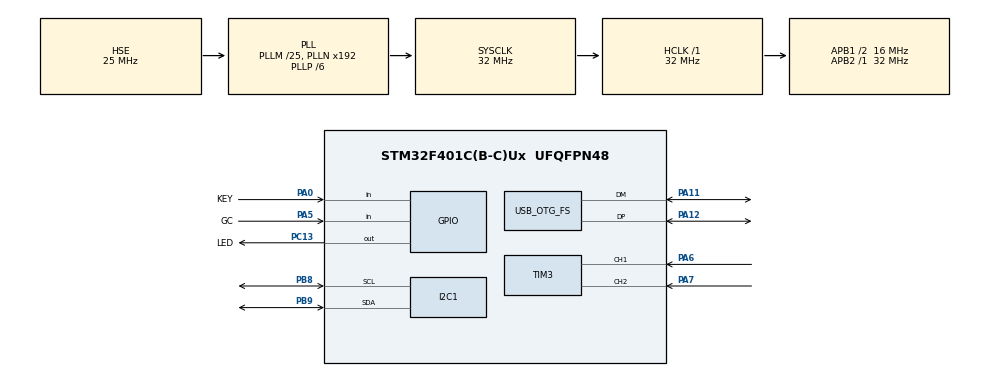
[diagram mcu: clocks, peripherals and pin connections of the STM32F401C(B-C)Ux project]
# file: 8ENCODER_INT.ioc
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Mcu.Family=STM32F4
Mcu.Name=STM32F401C(B-C)Ux
Mcu.Package=UFQFPN48
NVIC.OTG_FS_IRQn=true\:0\:0\:false\:false\:true\:false\:true
NVIC.PriorityGroup=NVIC_PRIORITYGROUP_4
NVIC.TIM3_IRQn=true\:0\:0\:false\:false\:true\:true\:true
PA0-WKUP.GPIO_Label=KEY
PA0-WKUP.GPIO_PuPd=GPIO_PULLUP
PA0-WKUP.Signal=GPIO_Input
PA11.Mode=Device_Only
PA11.Signal=USB_OTG_FS_DM
PA12.Mode=Device_Only
PA12.Signal=USB_OTG_FS_DP
PA13.Mode=Serial_Wire
PA13.Signal=SYS_JTMS-SWDIO
PA14.Mode=Serial_Wire
PA14.Signal=SYS_JTCK-SWCLK
PA5.GPIO_Label=GC
PA5.GPIO_PuPd=GPIO_PULLUP
PA5.Signal=GPIO_Input
PA6.GPIO_PuPd=GPIO_PULLUP
PA6.Signal=S_TIM3_CH1
PA7.GPIO_PuPd=GPIO_PULLUP
PA7.Signal=S_TIM3_CH2
PB8.Mode=I2C
PB8.Signal=I2C1_SCL
PB9.Mode=I2C
PB9.Signal=I2C1_SDA
PC13-ANTI_TAMP.GPIO_Label=LED
PC13-ANTI_TAMP.PinState=GPIO_PIN_SET
PC13-ANTI_TAMP.Signal=GPIO_Output
PH0\ -\ OSC_IN.Mode=HSE-External-Oscillator
PH0\ -\ OSC_IN.Signal=RCC_OSC_IN
PH1\ -\ OSC_OUT.Mode=HSE-External-Oscillator
PH1\ -\ OSC_OUT.Signal=RCC_OSC_OUT
ProjectManager.HeapSize=0x200
ProjectManager.StackSize=0x400
ProjectManager.TargetToolchain=STM32CubeIDE
RCC.48MHZClocksFreq_Value=48000000
RCC.AHBFreq_Value=32000000
RCC.APB1CLKDivider=RCC_HCLK_DIV2
RCC.APB1Freq_Value=16000000
RCC.APB1TimFreq_Value=32000000
RCC.APB2Freq_Value=32000000
RCC.APB2TimFreq_Value=32000000
RCC.CortexFreq_Value=32000000
RCC.HCLKFreq_Value=32000000
RCC.HSE_VALUE=25000000
RCC.HSI_VALUE=16000000
RCC.LSE_VALUE=32768
RCC.PLLM=25
RCC.PLLP=RCC_PLLP_DIV6
RCC.SYSCLKFreq_VALUE=32000000
RCC.SYSCLKSource=RCC_SYSCLKSOURCE_PLLCLK
RCC.VCOOutputFreq_Value=192000000
SH.S_TIM3_CH1.0=TIM3_CH1,Encoder_Interface
SH.S_TIM3_CH2.0=TIM3_CH2,Encoder_Interface
TIM3.AutoReloadPreload=TIM_AUTORELOAD_PRELOAD_ENABLE
TIM3.CounterMode=TIM_COUNTERMODE_CENTERALIGNED1
TIM3.EncoderMode=TIM_ENCODERMODE_TI12
TIM3.IC1Filter=10
TIM3.IC1Polarity=TIM_ICPOLARITY_FALLING
TIM3.IC2Filter=10
TIM3.IC2Polarity=TIM_ICPOLARITY_FALLING
USB_DEVICE.CLASS_NAME_FS=CDC
USB_DEVICE.VirtualMode=Cdc
USB_DEVICE.VirtualModeFS=Cdc_FS
USB_OTG_FS.VirtualMode=Device_Only
VP_USB_DEVICE_VS_USB_DEVICE_CDC_FS.Mode=CDC_FS
board=custom

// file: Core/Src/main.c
/* USER CODE BEGIN Header */
/**
  ******************************************************************************
  * @file           : main.c
  * @brief          : Main program body
  ******************************************************************************
  * @attention
  *
  * Copyright (c) 2022 STMicroelectronics.
  * All rights reserved.
  *
  * This software is licensed under terms that can be found in the LICENSE file
  * in the root directory of this software component.
  * If no LICENSE file comes with this software, it is provided AS-IS.
  *
  ******************************************************************************
  */
/* USER CODE END Header */
#include "main.h"
#include "usb_device.h"

/* USER CODE BEGIN Includes */
#include "liquidcrystal_i2c.h"
/* USER CODE END Includes */

/* USER CODE BEGIN PD */
#define SW (!HAL_GPIO_ReadPin(GC_GPIO_Port, GC_Pin))
/* USER CODE END PD */

I2C_HandleTypeDef hi2c1;

TIM_HandleTypeDef htim3;

/* USER CODE BEGIN PV */
uint8_t MSG[30] = {'\0'};
uint8_t oldBt = 0;

int encVal = 0, oldEncVal = 0;
int8_t DIR = 0;
/* USER CODE END PV */

void SystemClock_Config(void);
static void MX_GPIO_Init(void);
static void MX_I2C1_Init(void);
static void MX_TIM3_Init(void);

int main(void)
{

  /* MCU Configuration--------------------------------------------------------*/

  /* Reset of all peripherals, Initializes the Flash interface and the Systick. */
  HAL_Init();

  /* Configure the system clock */
  SystemClock_Config();

  /* Initialize all configured peripherals */
  MX_GPIO_Init();
  MX_I2C1_Init();
  MX_TIM3_Init();
  MX_USB_DEVICE_Init();
  /* USER CODE BEGIN 2 */
  HAL_TIM_Encoder_Start_IT(&htim3, TIM_CHANNEL_ALL);
  /* USER CODE END 2 */

  /* Infinite loop */
  /* USER CODE BEGIN WHILE */
  while (1)
  {
    encVal = (uint16_t)((TIM3->CNT)>>2);

    if(encVal != oldEncVal){
    	DIR = ((encVal - oldEncVal) >= 1) ? 1 : 2;

    	sprintf(MSG, "%d :Tick: %d\r\n",DIR,encVal);
    	while(CDC_Transmit_FS(MSG, strlen(MSG))==USBD_OK){}

    	oldEncVal = encVal;
    }

    if((SW != oldBt) && SW)
    {
    	HAL_GPIO_TogglePin(LED_GPIO_Port, LED_Pin);
    }
    oldBt = SW;

    HAL_Delay(10);
    /* USER CODE END WHILE */

  }
}

void SystemClock_Config(void)
{
  RCC_OscInitTypeDef RCC_OscInitStruct = {0};
  RCC_ClkInitTypeDef RCC_ClkInitStruct = {0};

  /** Configure the main internal regulator output voltage
  */
  __HAL_RCC_PWR_CLK_ENABLE();
  __HAL_PWR_VOLTAGESCALING_CONFIG(PWR_REGULATOR_VOLTAGE_SCALE2);
  /** Initializes the RCC Oscillators according to the specified parameters
  * in the RCC_OscInitTypeDef structure.
  */
  RCC_OscInitStruct.OscillatorType = RCC_OSCILLATORTYPE_HSE;
  RCC_OscInitStruct.HSEState = RCC_HSE_ON;
  RCC_OscInitStruct.PLL.PLLState = RCC_PLL_ON;
  RCC_OscInitStruct.PLL.PLLSource = RCC_PLLSOURCE_HSE;
  RCC_OscInitStruct.PLL.PLLM = 25;
  RCC_OscInitStruct.PLL.PLLN = 192;
  RCC_OscInitStruct.PLL.PLLP = RCC_PLLP_DIV6;
  RCC_OscInitStruct.PLL.PLLQ = 4;
  if (HAL_RCC_OscConfig(&RCC_OscInitStruct) != HAL_OK)
  {
    Error_Handler();
  }
  /** Initializes the CPU, AHB and APB buses clocks
  */
  RCC_ClkInitStruct.ClockType = RCC_CLOCKTYPE_HCLK|RCC_CLOCKTYPE_SYSCLK
                              |RCC_CLOCKTYPE_PCLK1|RCC_CLOCKTYPE_PCLK2;
  RCC_ClkInitStruct.SYSCLKSource = RCC_SYSCLKSOURCE_PLLCLK;
  RCC_ClkInitStruct.AHBCLKDivider = RCC_SYSCLK_DIV1;
  RCC_ClkInitStruct.APB1CLKDivider = RCC_HCLK_DIV2;
  RCC_ClkInitStruct.APB2CLKDivider = RCC_HCLK_DIV1;

  if (HAL_RCC_ClockConfig(&RCC_ClkInitStruct, FLASH_LATENCY_1) != HAL_OK)
  {
    Error_Handler();
  }
}

static void MX_I2C1_Init(void)
{

  hi2c1.Instance = I2C1;
  hi2c1.Init.ClockSpeed = 100000;
  hi2c1.Init.DutyCycle = I2C_DUTYCYCLE_2;
  hi2c1.Init.OwnAddress1 = 0;
  hi2c1.Init.AddressingMode = I2C_ADDRESSINGMODE_7BIT;
  hi2c1.Init.DualAddressMode = I2C_DUALADDRESS_DISABLE;
  hi2c1.Init.OwnAddress2 = 0;
  hi2c1.Init.GeneralCallMode = I2C_GENERALCALL_DISABLE;
  hi2c1.Init.NoStretchMode = I2C_NOSTRETCH_DISABLE;
  if (HAL_I2C_Init(&hi2c1) != HAL_OK)
  {
    Error_Handler();
  }

}

static void MX_TIM3_Init(void)
{

  TIM_Encoder_InitTypeDef sConfig = {0};
  TIM_MasterConfigTypeDef sMasterConfig = {0};

  htim3.Instance = TIM3;
  htim3.Init.Prescaler = 0;
  htim3.Init.CounterMode = TIM_COUNTERMODE_CENTERALIGNED1;
  htim3.Init.Period = 65535;
  htim3.Init.ClockDivision = TIM_CLOCKDIVISION_DIV1;
  htim3.Init.AutoReloadPreload = TIM_AUTORELOAD_PRELOAD_ENABLE;
  sConfig.EncoderMode = TIM_ENCODERMODE_TI12;
  sConfig.IC1Polarity = TIM_ICPOLARITY_FALLING;
  sConfig.IC1Selection = TIM_ICSELECTION_DIRECTTI;
  sConfig.IC1Prescaler = TIM_ICPSC_DIV1;
  sConfig.IC1Filter = 10;
  sConfig.IC2Polarity = TIM_ICPOLARITY_FALLING;
  sConfig.IC2Selection = TIM_ICSELECTION_DIRECTTI;
  sConfig.IC2Prescaler = TIM_ICPSC_DIV1;
  sConfig.IC2Filter = 10;
  if (HAL_TIM_Encoder_Init(&htim3, &sConfig) != HAL_OK)
  {
    Error_Handler();
  }
  sMasterConfig.MasterOutputTrigger = TIM_TRGO_RESET;
  sMasterConfig.MasterSlaveMode = TIM_MASTERSLAVEMODE_DISABLE;
  if (HAL_TIMEx_MasterConfigSynchronization(&htim3, &sMasterConfig) != HAL_OK)
  {
    Error_Handler();
  }

}

static void MX_GPIO_Init(void)
{
  GPIO_InitTypeDef GPIO_InitStruct = {0};

  /* GPIO Ports Clock Enable */
  __HAL_RCC_GPIOC_CLK_ENABLE();
  __HAL_RCC_GPIOH_CLK_ENABLE();
  __HAL_RCC_GPIOA_CLK_ENABLE();
  __HAL_RCC_GPIOB_CLK_ENABLE();

  /*Configure GPIO pin Output Level */
  HAL_GPIO_WritePin(LED_GPIO_Port, LED_Pin, GPIO_PIN_SET);

  /*Configure GPIO pin : LED_Pin */
  GPIO_InitStruct.Pin = LED_Pin;
  GPIO_InitStruct.Mode = GPIO_MODE_OUTPUT_PP;
  GPIO_InitStruct.Pull = GPIO_NOPULL;
  GPIO_InitStruct.Speed = GPIO_SPEED_FREQ_LOW;
  HAL_GPIO_Init(LED_GPIO_Port, &GPIO_InitStruct);

  /*Configure GPIO pins : KEY_Pin GC_Pin */
  GPIO_InitStruct.Pin = KEY_Pin|GC_Pin;
  GPIO_InitStruct.Mode = GPIO_MODE_INPUT;
  GPIO_InitStruct.Pull = GPIO_PULLUP;
  HAL_GPIO_Init(GPIOA, &GPIO_InitStruct);

}

void Error_Handler(void)
{
  __disable_irq();
  while (1)
  {
  }
}
